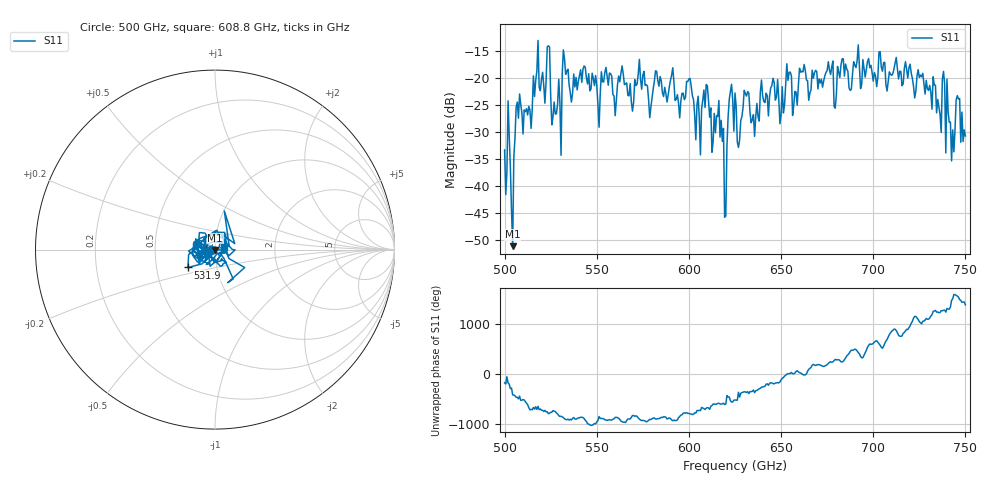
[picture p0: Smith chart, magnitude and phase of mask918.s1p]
!Created with skrf (http://scikit-rf.org).
# GHz S MA R 50.0
!freq magS11 angS11
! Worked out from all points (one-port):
!   401 points, 500 GHz to 750 GHz, reference 50 ohm
!   lowest |S11| = -51.2 dB at 504.4 GHz (marker M1), VSWR 1.01, Z = 50.2 - j0.225 ohm
!   |S11| at or under -10 dB: start of sweep to end of sweep
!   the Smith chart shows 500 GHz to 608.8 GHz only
!   S11 on the Smith chart (normalised r, x): 500 GHz: 0.96, -0.00; 531.9 GHz: 0.72, -0.15; 608.8 GHz: 1.11, +0.03
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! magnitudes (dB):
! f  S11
! 500 GHz  -33.4
! 504.4 GHz  -51.2
! 507.5 GHz  -27.5
! 513.8 GHz  -26.0
! 516.9 GHz  -20.5
! 523.8 GHz  -14.1
! 526.9 GHz  -24.5
! 531.2 GHz  -19.4
! 531.9 GHz  -14.9
! 562.5 GHz  -20.8
! 579.4 GHz  -25.4
! 590.6 GHz  -19.5
! 593.8 GHz  -23.2
! 600 GHz  -20.2
! 605 GHz  -23.4
! 608.8 GHz  -25.5
! 617.5 GHz  -27.9
! 619.4 GHz  -45.8
! 622.5 GHz  -22.6
! 625 GHz  -22.8
! 656.2 GHz  -27.0
! 687.5 GHz  -22.4
! 718.8 GHz  -20.1
! 735.6 GHz  -25.4
! 738.8 GHz  -21.2
! 743.1 GHz  -29.7
! 745.6 GHz  -23.3
! 750 GHz  -30.8
